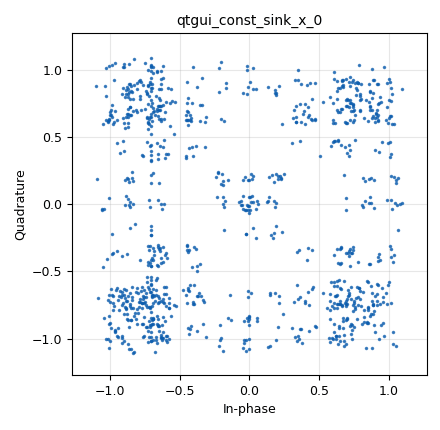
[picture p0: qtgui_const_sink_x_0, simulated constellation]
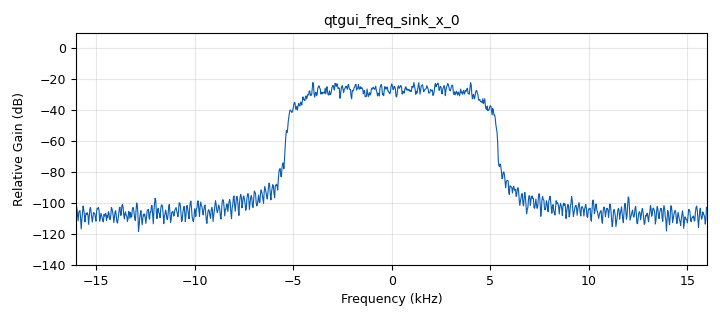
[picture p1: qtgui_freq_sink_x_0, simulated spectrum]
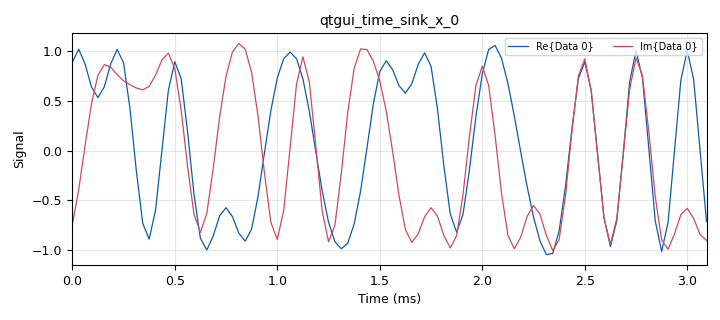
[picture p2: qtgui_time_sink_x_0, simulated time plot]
options:
  parameters:
    generate_options: qt_gui
    id: PSK
    output_language: python
    title: 'PSK and AWGN '
  states: {}

blocks:
- name: AWGN
  id: variable_qtgui_range
  parameters:
    gui_hint: 0,0,1,1
    label: AWGN LVL
    start: '0'
    step: '0.25'
    stop: '1'
    value: '0.0'
    widget: eng_slider
  states: {}
- name: excess_bw
  id: variable
  parameters:
    value: '0.35'
  states: {}
- name: qpsk
  id: variable_constellation_rect
  parameters:
    const_points: '[0.707+0.707j, -0.707+0.707j, -0.707-0.707j, 0.707-0.707j]'
    imag_sect: '2'
    real_sect: '2'
    rot_sym: '4'
    sym_map: '[0, 1, 2, 3]'
    w_imag_sect: '1'
    w_real_sect: '1'
  states: {}
- name: samp_rate
  id: variable
  parameters:
    value: '32000'
  states: {}
- name: sps
  id: variable
  parameters:
    value: '4'
  states: {}
- name: analog_noise_source_x_0
  id: analog_noise_source_x
  parameters:
    amp: AWGN
    noise_type: analog.GR_GAUSSIAN
    seed: '0'
    type: complex
  states: {}
- name: analog_random_source_x_0
  id: analog_random_source_x
  parameters:
    max: '256'
    min: '0'
    num_samps: '100'
    repeat: 'True'
    type: byte
  states: {}
- name: blocks_add_xx_0
  id: blocks_add_xx
  parameters:
    type: complex
  states: {}
- name: blocks_throttle2_0
  id: blocks_throttle2
  parameters:
    samples_per_second: samp_rate
    type: complex
  states: {}
- name: blocks_throttle2_0_0
  id: blocks_throttle2
  parameters:
    samples_per_second: samp_rate
    type: complex
  states: {}
- name: digital_constellation_modulator_0
  id: digital_constellation_modulator
  parameters:
    constellation: qpsk
    differential: 'True'
    excess_bw: excess_bw
    samples_per_symbol: sps
  states: {}
- name: qtgui_const_sink_x_0
  id: qtgui_const_sink_x
  parameters:
    autoscale: 'True'
    gui_hint: 1,2,1,2
    name: ''
    size: '1024'
    type: complex
  states: {}
- name: qtgui_freq_sink_x_0
  id: qtgui_freq_sink_x
  parameters:
    average: '0.05'
    bw: samp_rate
    ctrlpanel: 'True'
    fc: '0'
    fftsize: '1024'
    gui_hint: 2,0,1,4
    name: ''
    norm_window: 'True'
    showports: 'True'
    type: complex
    width1: '2'
  states: {}
- name: qtgui_time_sink_x_0
  id: qtgui_time_sink_x
  parameters:
    autoscale: 'True'
    color1: black
    ctrlpanel: 'True'
    gui_hint: 1,0,1,2
    label1: ''
    label2: ''
    name: ''
    size: '100'
    srate: samp_rate
    type: complex
    ylabel: Signal
    ymax: '2'
    ymin: '-2'
  states: {}

connections:
- [analog_noise_source_x_0, '0', blocks_throttle2_0, '0']
- [analog_random_source_x_0, '0', digital_constellation_modulator_0, '0']
- [blocks_add_xx_0, '0', qtgui_const_sink_x_0, '0']
- [blocks_add_xx_0, '0', qtgui_freq_sink_x_0, '0']
- [blocks_add_xx_0, '0', qtgui_time_sink_x_0, '0']
- [blocks_throttle2_0, '0', blocks_add_xx_0, '1']
- [blocks_throttle2_0_0, '0', blocks_add_xx_0, '0']
- [digital_constellation_modulator_0, '0', blocks_throttle2_0_0, '0']

metadata:
  file_format: 1
  grc_version: 3.10.9.2
